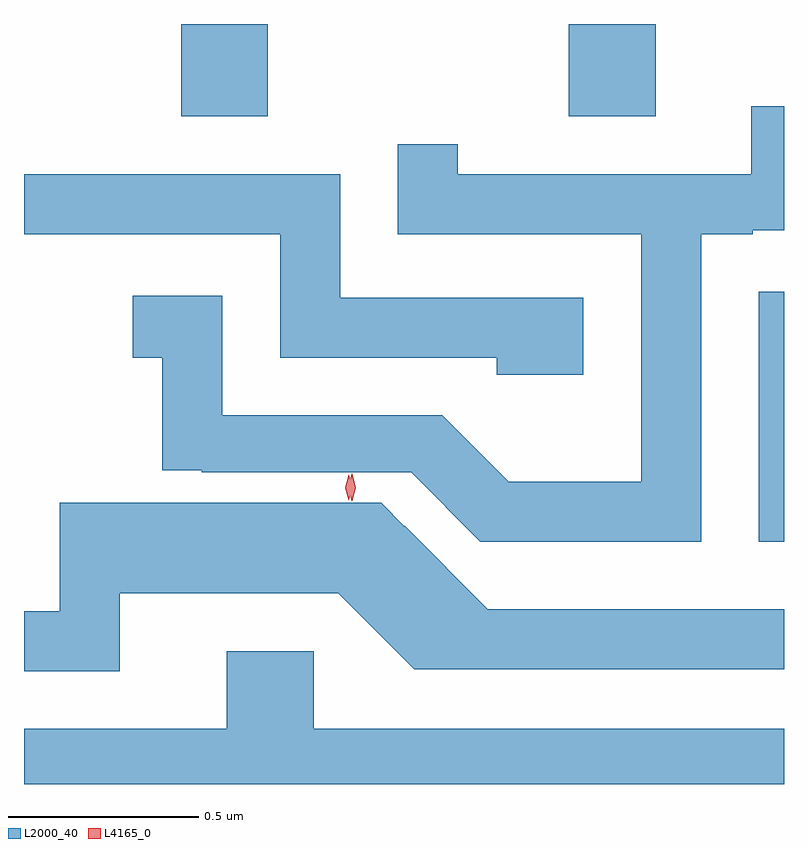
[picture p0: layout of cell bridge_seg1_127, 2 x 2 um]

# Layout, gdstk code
import gdstk
lib = gdstk.Library(unit=1e-6, precision=1e-09)
def R(c, l, rs):  # rectangles x0, y0, x1, y1
    for r in rs: c.add(gdstk.rectangle(r[:2], r[2:], *l))
def P(c, l, *ps):  # polygons
    for p in ps: c.add(gdstk.Polygon(p, *l))
L2000_40 = (2000, 40)
L4165_0 = (4165, 0)

bridge_seg1_127 = lib.new_cell('bridge_seg1_127')
R(bridge_seg1_127, L2000_40, [(1404.861,851.496,1404.927,852.154), (1403.341,852.616,1403.569,852.859), (1404.361,852.616,1404.589,852.859)])
P(bridge_seg1_127, L2000_40, [(1404.709,852.306),(1404.845,852.306),(1404.845,852.316),(1404.927,852.316),(1404.927,852.643),(1404.841,852.643),(1404.841,852.464),(1404.069,852.464),(1404.069,852.543),(1403.911,852.543),(1403.911,852.306),(1404.551,852.306),(1404.551,851.654),(1404.202,851.654),(1404.027,851.829),(1403.449,851.829),(1403.449,852.144),(1403.213,852.144),(1403.213,851.981),(1403.291,851.981),(1403.291,851.685),(1403.395,851.685),(1403.395,851.679),(1403.946,851.679),(1404.128,851.497),(1404.23,851.497),(1404.23,851.496),(1404.709,851.496)],
  [(1404.399,852.139),(1403.759,852.139),(1403.759,852.464),(1402.927,852.464),(1402.927,852.306),(1403.601,852.306),(1403.601,851.981),(1404.171,851.981),(1404.171,851.936),(1404.399,851.936)],
  [(1403.179,851.361),(1403.754,851.361),(1403.954,851.161),(1404.927,851.161),(1404.927,851.319),(1404.148,851.319),(1403.929,851.538),(1403.928,851.537),(1403.867,851.599),(1403.021,851.599),(1403.021,851.314),(1402.927,851.314),(1402.927,851.156),(1403.179,851.156)],
  [(1404.927,851.004),(1403.689,851.004),(1403.689,851.209),(1403.461,851.209),(1403.461,851.004),(1402.927,851.004),(1402.927,850.859),(1404.927,850.859)])
P(bridge_seg1_127, L4165_0, [(1403.79,851.603),(1403.79,851.604),(1403.78,851.639),(1403.79,851.676),(1403.79,851.676),(1403.791,851.676),(1403.8,851.639),(1403.791,851.604)],
  [(1403.781,851.606),(1403.772,851.639),(1403.781,851.673),(1403.782,851.673),(1403.782,851.673),(1403.791,851.639),(1403.782,851.606),(1403.782,851.606)])

lib.write_gds('bridge_seg1_127.gds')
